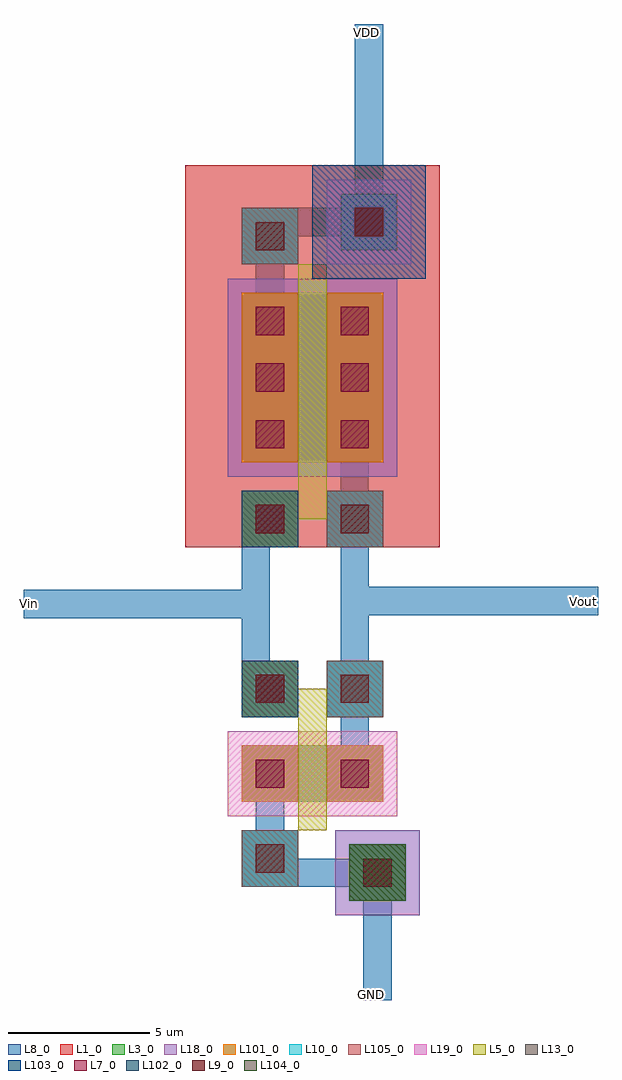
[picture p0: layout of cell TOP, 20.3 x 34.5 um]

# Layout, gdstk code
import gdstk
lib = gdstk.Library(unit=1e-6, precision=1e-07)
def R(c, l, rs):  # rectangles x0, y0, x1, y1
    for r in rs: c.add(gdstk.rectangle(r[:2], r[2:], *l))
L1_0 = (1, 0)
L3_0 = (3, 0)
L5_0 = (5, 0)
L7_0 = (7, 0)
L8_0 = (8, 0)
L9_0 = (9, 0)
L10_0 = (10, 0)
L13_0 = (13, 0)
L18_0 = (18, 0)
L19_0 = (19, 0)
L101_0 = (101, 0)
L102_0 = (102, 0)
L103_0 = (103, 0)
L104_0 = (104, 0)
L105_0 = (105, 0)

dcont = lib.new_cell('dcont')
R(dcont, L3_0, [(-1,-1,1,1)])
R(dcont, L7_0, [(-0.5,-0.5,0.5,0.5)])
R(dcont, L8_0, [(-1,-1,1,1)])
R(dcont, L13_0, [(-0.5,-0.5,0.5,0.5)])
R(dcont, L101_0, [(-1,-1,1,1)])

pcont = lib.new_cell('pcont')
R(pcont, L5_0, [(-1,-1,1,1)])
R(pcont, L7_0, [(-0.5,-0.5,0.5,0.5)])
R(pcont, L8_0, [(-1,-1,1,1)])
R(pcont, L13_0, [(-0.5,-0.5,0.5,0.5)])
R(pcont, L102_0, [(-1,-1,1,1)])

via = lib.new_cell('Via')
R(via, L8_0, [(-1,-1,1,1)])
R(via, L9_0, [(-0.5,-0.5,0.5,0.5)])
R(via, L10_0, [(-1,-1,1,1)])
R(via, L13_0, [(-0.5,-0.5,0.5,0.5)])
R(via, L105_0, [(-1,-1,1,1)])

dcont1 = lib.new_cell('dcont1')
R(dcont1, L3_0, [(-1,-1,1,1)])
R(dcont1, L7_0, [(-0.5,-0.5,0.5,0.5)])
R(dcont1, L8_0, [(-1,-1,1,1)])
R(dcont1, L13_0, [(-0.5,-0.5,0.5,0.5)])
R(dcont1, L101_0, [(-1,-1,1,1)])

psubcont = lib.new_cell('psubcont')
R(psubcont, L18_0, [(-1.5,-1.5,1.5,1.5)])
R(psubcont, L104_0, [(-1,-1,1,1)])
psubcont.add(gdstk.Reference(dcont1, (0,0)))

nch = lib.new_cell('Nch')
R(nch, L3_0, [(0,3,5,5)])
R(nch, L19_0, [(-0.5,2.5,5.5,5.5)])
nch.add(gdstk.FlexPath([(1,3),(1,5)], 2, ends="flush", simple_path=True, layer=8, datatype=0))  # L8_0
nch.add(gdstk.FlexPath([(4,3),(4,5)], 2, ends="flush", simple_path=True, layer=8, datatype=0))  # L8_0
nch.add(gdstk.FlexPath([(1,1),(1,4)], 1, ends="flush", simple_path=True, layer=8, datatype=0))  # L8_0
nch.add(gdstk.FlexPath([(4,4),(4,7)], 1, ends="flush", simple_path=True, layer=8, datatype=0))  # L8_0
nch.add(gdstk.FlexPath([(2.5,3),(2.5,5)], 1, ends=(1, 1), simple_path=True, layer=5, datatype=0))  # L5_0
nch.add(gdstk.FlexPath([(1,6.5),(2.5,6.5),(2.5,6)], 1, ends="flush", simple_path=True, layer=5, datatype=0))  # L5_0
nch.add(gdstk.Reference(dcont, (1,4)))
nch.add(gdstk.Reference(dcont, (4,4)))
nch.add(gdstk.Reference(pcont, (1,7)))
nch.add(gdstk.Reference(via, (1,7)))
nch.add(gdstk.Reference(via, (1,1)))
nch.add(gdstk.Reference(via, (4,7)))
nch.add(gdstk.Reference(psubcont, (4.8,0.5)))
nch.add(gdstk.Reference(via, (4.8,0.5)))

nsubcont = lib.new_cell('nsubcont')
R(nsubcont, L1_0, [(-2,-2,2,2)])
R(nsubcont, L19_0, [(-1.5,-1.5,1.5,1.5)])
R(nsubcont, L103_0, [(-2,-2,2,2)])
nsubcont.add(gdstk.Reference(dcont1, (0,0)))

pch = lib.new_cell('Pch')
R(pch, L1_0, [(-2,0,7,13.5)])
R(pch, L3_0, [(0,3,5,9)])
R(pch, L18_0, [(-0.5,2.5,5.5,9.5)])
pch.add(gdstk.FlexPath([(1,3),(1,9)], 2, ends="flush", simple_path=True, layer=8, datatype=0))  # L8_0
pch.add(gdstk.FlexPath([(4,3),(4,9)], 2, ends="flush", simple_path=True, layer=8, datatype=0))  # L8_0
pch.add(gdstk.FlexPath([(1,8),(1,11)], 1, ends="flush", simple_path=True, layer=8, datatype=0))  # L8_0
pch.add(gdstk.FlexPath([(4,1),(4,4)], 1, ends="flush", simple_path=True, layer=8, datatype=0))  # L8_0
pch.add(gdstk.FlexPath([(2.5,3),(2.5,9)], 1, ends=(1, 1), simple_path=True, layer=5, datatype=0))  # L5_0
pch.add(gdstk.FlexPath([(1,1.5),(2.5,1.5),(2.5,2)], 1, ends="flush", simple_path=True, layer=5, datatype=0))  # L5_0
pch.add(gdstk.Reference(dcont, (1,4)))
pch.add(gdstk.Reference(dcont, (1,6)))
pch.add(gdstk.Reference(dcont, (1,8)))
pch.add(gdstk.Reference(dcont, (4,4)))
pch.add(gdstk.Reference(dcont, (4,6)))
pch.add(gdstk.Reference(dcont, (4,8)))
pch.add(gdstk.Reference(pcont, (1,1)))
pch.add(gdstk.Reference(via, (1,1)))
pch.add(gdstk.Reference(via, (1,11)))
pch.add(gdstk.Reference(via, (4,1)))
pch.add(gdstk.Reference(nsubcont, (4.5,11.5)))
pch.add(gdstk.Reference(via, (4.5,11.5)))

top = lib.new_cell('TOP')
top.add(gdstk.FlexPath([(-2.5,5),(-2.5,-1.5)], 1, ends="flush", simple_path=True, layer=8, datatype=0))  # L8_0
top.add(gdstk.FlexPath([(-5.5,5),(-6,5),(-6,-1),(-5,-1)], 1, ends="flush", simple_path=True, layer=8, datatype=0))  # L8_0
top.add(gdstk.FlexPath([(-6,2),(-14.2,2)], 1, ends="flush", simple_path=True, layer=8, datatype=0))  # L8_0
top.add(gdstk.FlexPath([(-2.5,2.1),(6.1,2.1)], 1, ends="flush", simple_path=True, layer=8, datatype=0))  # L8_0
top.add(gdstk.FlexPath([(-5.5,15),(-5.5,15.5),(-1.5,15.5),(-1.5,15.5)], 1, ends="flush", simple_path=True, layer=8, datatype=0))  # L8_0
top.add(gdstk.FlexPath([(-2,15.5),(-2,22.5)], 1, ends="flush", simple_path=True, layer=8, datatype=0))  # L8_0
top.add(gdstk.FlexPath([(-5.5,-7),(-5.5,-7.5),(-1.2,-7.5)], 1, ends="flush", simple_path=True, layer=8, datatype=0))  # L8_0
top.add(gdstk.FlexPath([(-1.7,-7),(-1.7,-12)], 1, ends="flush", simple_path=True, layer=8, datatype=0))  # L8_0
top.add(gdstk.Reference(nch, (-6.5,-8)))
top.add(gdstk.Reference(pch, (-6.5,4)))
top.add(gdstk.Label('GND', (-1.9,-11.8), layer=8, texttype=0))
top.add(gdstk.Label('Vout', (5.6,2.1), layer=8, texttype=0))
top.add(gdstk.Label('Vin', (-14,2), layer=8, texttype=0))
top.add(gdstk.Label('VDD', (-2.1,22.2), layer=8, texttype=0))

lib.write_gds('TOP.gds')
